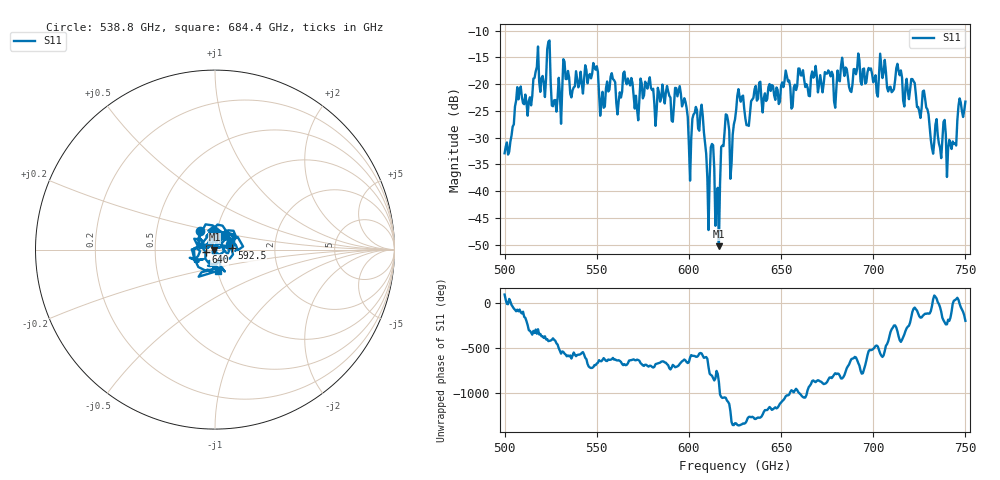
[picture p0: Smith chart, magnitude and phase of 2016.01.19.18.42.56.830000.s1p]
!Created with skrf (http://scikit-rf.org).
# GHz S RI R 50.0
!freq ReS11 ImS11
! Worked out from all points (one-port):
!   401 points, 500 GHz to 750 GHz, reference 50 ohm
!   lowest |S11| = -50.3 dB at 616.2 GHz (marker M1), VSWR 1.01, Z = 49.7 - j0.113 ohm
!   |S11| at or under -10 dB: start of sweep to end of sweep
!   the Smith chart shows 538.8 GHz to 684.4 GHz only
!   S11 on the Smith chart (normalised r, x): 538.8 GHz: 0.83, +0.18; 592.5 GHz: 1.20, +0.02; 640 GHz: 0.90, -0.02; 684.4 GHz: 1.00, -0.24
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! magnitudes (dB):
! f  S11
! 500 GHz  -32.9
! 516.9 GHz  -17.6
! 523.8 GHz  -12.1
! 526.9 GHz  -23.0
! 531.2 GHz  -21.0
! 538.8 GHz  -17.6
! 549.4 GHz  -17.3
! 553.1 GHz  -21.4
! 558.8 GHz  -19.0
! 562.5 GHz  -21.5
! 592.5 GHz  -20.7
! 593.8 GHz  -22.3
! 600.6 GHz  -38.0
! 607.5 GHz  -25.9
! 610 GHz  -37.5
! 612.5 GHz  -31.2
! 615 GHz  -40.7
! 616.2 GHz  -50.3
! 619.4 GHz  -28.8
! 623.1 GHz  -34.8
! 625 GHz  -26.6
! 640 GHz  -25.3
! 656.2 GHz  -24.2
! 684.4 GHz  -18.5
! 687.5 GHz  -21.2
! 718.8 GHz  -21.3
! 741.2 GHz  -30.4
! 750 GHz  -23.3
